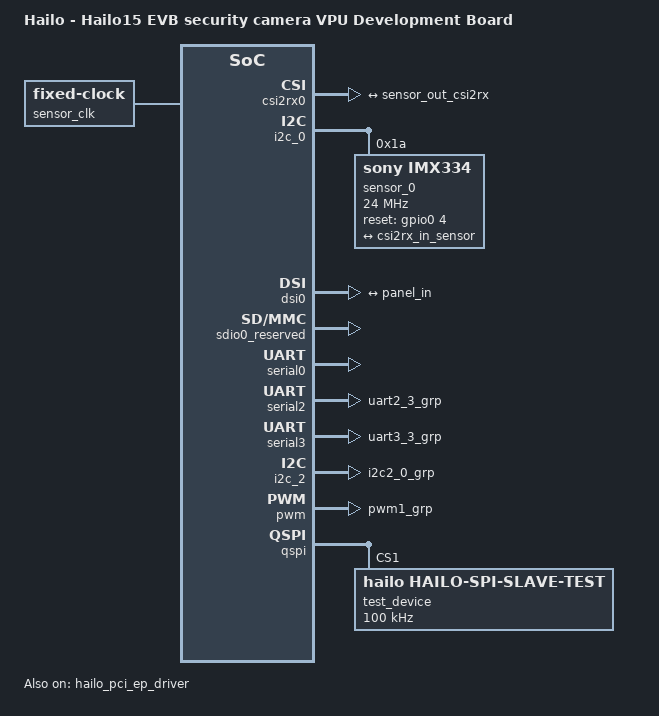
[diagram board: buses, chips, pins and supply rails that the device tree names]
// SPDX-License-Identifier:     GPL-2.0
/*
 * Copyright (c) 2019-2023 Hailo Technologies Ltd. All rights reserved.
 */

/dts-v1/;
#include "hailo15-evb-base.dtsi"
#include <dt-bindings/pinctrl/hailo15_cpld.h>

/ {
    model = "Hailo - Hailo15 EVB security camera VPU Development Board";

    sensor_clk: sensor_clk {
        compatible = "fixed-clock";
        #clock-cells = <0>;
        clock-frequency = <24000000>;
    };
};


&csi2rx0 {
    ports {
        port@0 {
            csi2rx_in_sensor: endpoint {
                remote-endpoint = <&sensor_out_csi2rx>;
            };
        };
    };
};

&i2c_0 {
    sensor_0: camera-sensor@1a {
        status = "okay";
        compatible = "sony,imx334", "sony,imx664", "sony,imx675", "sony,imx678", "sony,imx715";
        reg = <0x1a>;
        clocks = <&sensor_clk>;
        clock-names = "inclk";
        clock-frequency = <24000000>;
        csi-id = <0>;
        reset-gpios = <&gpio0 4 GPIO_ACTIVE_HIGH>;
        port {
            sensor_out_csi2rx: endpoint {
                data-lanes = <1 2 3 4>;
                remote-endpoint = <&csi2rx_in_sensor>;
		        link-frequencies = /bits/ 64 <720000000 891000000 1188000000 1440000000 1782000000>;
            };
        };
     };
};

&i2c_1 {
    gyro_lsm6dsr_1: lsm6dsr_1@6b {
        status = "disabled";
        compatible = "st,lsm6dsr";
        reg = <0x6b>;
        vdd-supply = <&regulator_1p8v>;
        vddio-supply = <&regulator_1p8v>;
        interrupt-parent = <&gpio1>;
        interrupts = <14 IRQ_TYPE_EDGE_RISING>;
        pinctrl-names = "default";
        pinctrl-0 = <&pinctrl_gpio30>;
	};

    lcd@45 {
        status = "disabled";
        compatible = "raspberrypi,7inch-touchscreen-panel";
        reg = <0x45>;
        port {
            panel_in: endpoint {
                remote-endpoint = <&dsi0_out>;
            };
        };
    };
};

&dsi0 {
    ports {
        port@0 {
            reg = <0>;
            dsi0_out: endpoint {
                remote-endpoint = <&panel_in>;
            };
        };
    };
};

&sdio0 {
    broken-cd;
};

&sdio0_reserved {
    status = "okay";
};

&hailo_pci_ep_driver {
    compatible = "hailo,hailo_pci_ep,hailo10h", "hailo,hailo_pci_ep";
    status = "okay";
};

&serial0 {
 status = "okay";
};

&serial2 {
    status = "okay";
    pinctrl-names = "default";
    pinctrl-0 = <&pinctrl_uart2>;
};

&serial3 {
    status = "okay";
    pinctrl-names = "default";
    pinctrl-0 = <&pinctrl_uart3>;
};

&i2c_2 {
    status = "okay";
    pinctrl-names = "default";
    pinctrl-0 = <&pinctrl_i2c2>;
};

&pwm {
    status = "okay";
    hailo15_pwm,supported-channels = <2 3>;
    pinctrl-names = "default";
    pinctrl-0 = <&pinctrl_pwm1>;
};

&qspi {
    test_device@1 {
        compatible = "hailo,hailo-spi-slave-test";
        spi-max-frequency = <100000>;
        reg = <1>;
        hailo,non-flash-device;
        spi-lsb-first;
    };
};

&pinctrl {
    i2c-bus = <&i2c_1>;
    board-config = <H15_CPLD_BOARD_CONFIG__SECURITY_CAMERA_OPTION_1>;

    pinctrl_i2c2: i2c2 {
        function = "i2c2";
        groups = "i2c2_0_grp";
    };

    pinctrl_uart2: serial2 {
        function = "uart2";
        groups = "uart2_3_grp";
    };

    pinctrl_uart3: serial3 {
        function = "uart3";
        groups = "uart3_3_grp";
    };

    pinctrl_pwm1: pwm1 {
        function = "pwm1";
        groups = "pwm1_grp";
    };

    pinctrl_gpio30: gpio30 {
        function = "gpio";
        groups = "gpio30_grp";
    };
};

#define GPIO_LINE_NAMES \
    "gpio_in_out_0",            "gpio_in_out_1",        "pwm_2",                    "pwm_3", \
    "cam0_reset_n",             "gpio_in_out_5",        "i2c2_sda_in_out",          "i2c2_scl_out", \
    "uart2_rxd_pad_in",         "uart2_txd_pad_out",    "uart0_cts_pad_in",         "uart0_rts_pad_out", \
    "uart3_rxd_pad_in",         "uart3_txd_pad_out",    "gpio_in_out_14",           "pcie_mperst_out", \
    \
    "gpio_in_out_16",           "gpio_in_out_17",       "gpio_in_out_18",           "gpio_in_out_19", \
    "shut_down_out",            "gpio_in_out_21",       "gpio_in_out_22",           "gpio_in_out_23", \
    "gpio_in_out_24",           "gpio_in_out_25",       "gpio_in_out_26",           "gpio_in_out_27", \
    "gpio_in_out_28",           "gpio_in_out_29",       "gpio_in_out_30",           "gpio_in_out_31"

&gpio0 {
    gpio-ranges = <&pinctrl 0 0 16>;

    gpio-line-names = GPIO_LINE_NAMES;
};

&gpio1 {
    gpio-ranges = <&pinctrl 0 16 16>;

    gpio-line-names = GPIO_LINE_NAMES;
};
